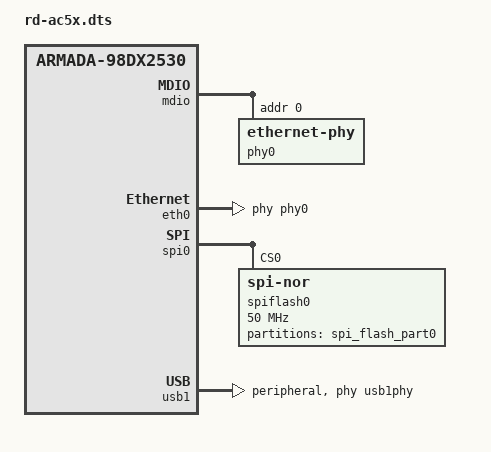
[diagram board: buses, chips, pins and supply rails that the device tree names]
// SPDX-License-Identifier: (GPL-2.0+ OR MIT)
/*
 * Device Tree For AC5X.
 *
 * Copyright (C) 2021 Marvell
 *
 */
/*
 * Device Tree file for Marvell Alleycat 5X development board
 * This board file supports the B configuration of the board
 */

#include "armada-98dx2530.dtsi"

&mdio {
	phy0: ethernet-phy@0 {
		reg = <0 0>;
	};
};

&eth0 {
	status = "okay";
	phy = <&phy0>;
};

&spi0 {
	status = "okay";

	spiflash0: spi-flash@0 {
		compatible = "spi-nor";
		spi-max-frequency = <50000000>;
		spi-tx-bus-width = <1>; /* 1-single, 2-dual, 4-quad */
		spi-rx-bus-width = <1>; /* 1-single, 2-dual, 4-quad */
		reg = <0>;

		#address-cells = <1>;
		#size-cells = <1>;

		partition@0 {
			label = "spi_flash_part0";
			reg = <0x0 0x800000>;
		};

		parition@1 {
			label = "spi_flash_part1";
			reg = <0x800000 0x700000>;
		};

		parition@2 {
			label = "spi_flash_part2";
			reg = <0xF00000 0x100000>;
		};
	};
};

&usb1 {
	compatible = "chipidea,usb2";
	phys = <&usb1phy>;
	phy-names = "usb-phy";
	dr_mode = "peripheral";
};

